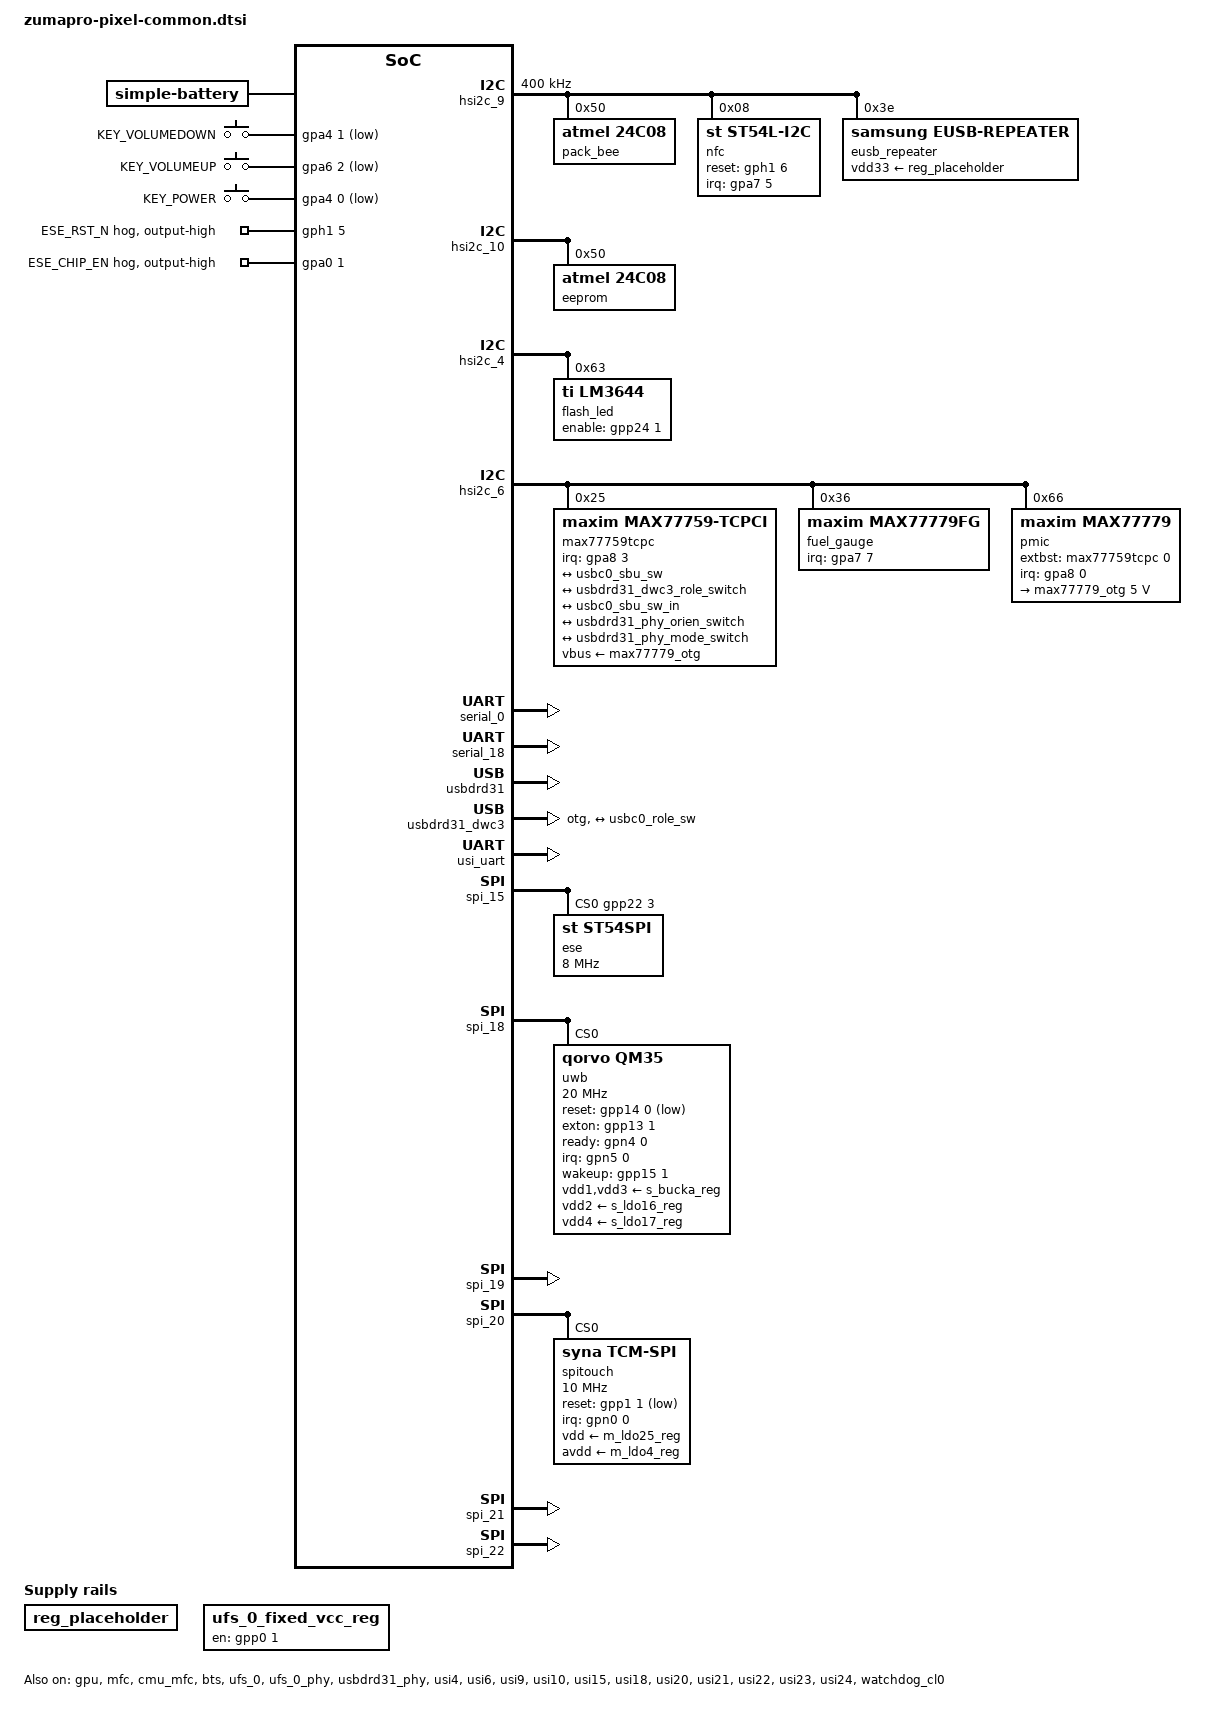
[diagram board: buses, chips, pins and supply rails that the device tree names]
// SPDX-License-Identifier: GPL-2.0-only
/*
 * Device Tree nodes common for all zumapro-based Pixel phones
 *
 * Copyright 2021-2023 Google LLC
 * Copyright 2023 Linaro Ltd - <peter.griffin@linaro.org>
 */

/dts-v1/;

#include <dt-bindings/gpio/gpio.h>
#include <dt-bindings/input/input.h>
#include <dt-bindings/regulator/samsung,s2mpg10-regulator.h>
#include <dt-bindings/usb/pd.h>
#include <dt-bindings/leds/common.h>
#include "zumapro-pinctrl.h"
#include "zumapro.dtsi"

/ {
	aliases {
		serial0 = &serial_0;
	};

	/*
	 * Cell fitted to caiman: ATL, battery id 17. The three google,chg-*
	 * arrays are the vendor charge table under their original names, so a
	 * different cell's block can be copied across unchanged: temperature
	 * band boundaries in deci-degrees, constant-voltage tiers, and for each
	 * (band, tier) the charge current as a percentage of the pack capacity,
	 * where 0 means do not charge that tier at that temperature. Below
	 * 10 degrees that stops charging at 4.3 V, which is the protection the
	 * charger's fixed fallback limit cannot express.
	 */
	battery: battery {
		compatible = "simple-battery";

		charge-full-design-microamp-hours = <4558000>;
		constant-charge-voltage-max-microvolt = <4480000>;
		constant-charge-current-max-microamp = <5469600>;

		google,chg-cv-limits = <4200000 4300000 4350000 4480000>;
		google,chg-temp-limits = <0 100 200 420 460 480 550>;
		google,chg-cc-limits = <
			 50   30    0    0
			 70   30   30   30
			120  120  120   50
			100  100  100   50
			 50   50    0    0
			 30    0    0    0
		>;
	};

	chosen {
		/* Bootloader expects bootargs specified otherwise it crashes */
		bootargs = "earlycon=exynos4210,0x10870000 splash plymouth.ignore-serial-consoles plymouth.prefer-fbcon clk_ignore_unused pmos_boot_uuid=054e6c2a-294c-4542-be46-56ac95c6d2d9 pmos_root_uuid=738b808b-8486-42b8-9520-0cd5fa0e4ac7 pmos_rootfsopts=defaults";
		stdout-path = &serial_0;

		/* Use display framebuffer as setup by bootloader */
		framebuffer0: framebuffer-0 {
			compatible = "simple-framebuffer";
			memory-region = <&cont_splash_mem>;
			/* format properties to be added by actual board */

			status = "disabled";
		};
	};

	memory_1: memory@880000000 {
		device_type = "memory";
		reg = <0x08 0x80000000 0x80000000>;
	};

	memory_2: memory@900000000 {
		device_type = "memory";
		reg = <0x09 0x00 0x80000000>;
	};

	memory_3: memory@980000000 {
		device_type = "memory";
		reg = <0x09 0x80000000 0x80000000>;
	};

	decon_autorefresh_bit: mmio-init@19470030 {
		compatible = "linux,mmio-init-helper";
		reg = <0 0x19470030 0x4>;
		value = <0x3061>;

		status = "disabled";
	};

	gpio_keys: gpio-keys {
		compatible = "gpio-keys";
		pinctrl-0 = <&key_voldown>, <&key_volup>, <&key_power>;
		pinctrl-names = "default";

		button-vol-down {
			label = "KEY_VOLUMEDOWN";
			linux,code = <KEY_VOLUMEDOWN>;
			gpios = <&gpa4 1 GPIO_ACTIVE_LOW>;
			wakeup-source;
		};

		button-vol-up {
			label = "KEY_VOLUMEUP";
			linux,code = <KEY_VOLUMEUP>;
			gpios = <&gpa6 2 GPIO_ACTIVE_LOW>;
			wakeup-source;
		};

		button-power {
			label = "KEY_POWER";
			linux,code = <KEY_POWER>;
			gpios = <&gpa4 0 GPIO_ACTIVE_LOW>;
			wakeup-source;
		};
	};

	reboot-mode {
		compatible = "nvmem-reboot-mode";
		nvmem-cells = <&nvmem_reboot_mode>;
		nvmem-cell-names = "reboot-mode";
		mode-bootloader = <0x800000fc>;
		mode-charge = <0x8000000a>;
		mode-dm-verity-device-corrupted = <0x80000050>;
		mode-fastboot = <0x800000fa>;
		mode-reboot-ab-update = <0x80000052>;
		mode-recovery = <0x800000ff>;
		mode-rescue = <0x800000f9>;
		mode-shutdown-thermal = <0x80000051>;
		mode-shutdown-thermal-battery = <0x80000051>;
	};

	/* TODO: Remove this once PMIC is implemented  */
	reg_placeholder: regulator-0 {
		compatible = "regulator-fixed";
		regulator-name = "placeholder_reg";
	};

	/* TODO: Remove this once S2MPG11 slave PMIC is implemented  */
	ufs_0_fixed_vcc_reg: regulator-1 {
		compatible = "regulator-fixed";
		regulator-name = "ufs-vcc";
		gpio = <&gpp0 1 GPIO_ACTIVE_HIGH>;
		regulator-boot-on;
		/*
		 * Nothing claims this -- ufs-exynos never asks for a vcc
		 * supply -- so the disable-unused sweep will pull GPP0_1 low
		 * and cut power to the rootfs.  boot-on does not stop it;
		 * only always-on does.
		 */
		regulator-always-on;
		enable-active-high;
	};

	reserved-memory {
		cont_splash_mem: splash@fac00000 {
			/* size to be updated by actual board */
			reg = <0x0 0xfac00000 0x0>;
			no-map;

			status = "disabled";
		};
	};
};

&acpm_ipc {
	pmic-1 {
		compatible = "samsung,s2mpg14-pmic";
		/*
		 * The in-band interrupt, demultiplexed out of the shared I3C
		 * line by the VGPIO2AP controller; slave index 0 is the main
		 * PMIC.  The GIC line itself (SPI 74) belongs to that
		 * controller, not here.
		 */
		interrupt-parent = <&vgpio2ap>;
		interrupts = <0 IRQ_TYPE_LEVEL_HIGH>;
		gpios = <&gpa9 4 GPIO_ACTIVE_LOW>,		/* SMPL_WARN_R_L */
			<&gpa10 0 GPIO_ACTIVE_HIGH>,		/* OCP_WARN_CPUCL1_R */
			<&gpa10 1 GPIO_ACTIVE_HIGH>,		/* OCP_WARN_CPUCL2_R */
			<&gpa10 2 GPIO_ACTIVE_HIGH>,		/* SOFT_OCP_WARN_CPUCL1_R */
			<&gpa10 3 GPIO_ACTIVE_HIGH>,		/* SOFT_OCP_WARN_CPUCL2_R */
			<&gpa9 2 GPIO_ACTIVE_HIGH>,		/* OCP_WARN_TPU_R */
			<&gpa9 3 GPIO_ACTIVE_HIGH>;		/* SOFT_OCP_WARN_TPU_R */
		pinctrl-names = "default";
		pinctrl-0 = <&smpl_warn>;
		system-power-controller;
		wakeup-source;

		clocks {
			compatible = "samsung,s2mpg10-clk";
			#clock-cells = <1>;
			clock-output-names = "rtc32k_ap", "peri32k1",
					     "peri32k2";
		};

		regulators {
			m_buck7_reg: buck7m {
				/* TPU rail on zumapro */
				regulator-name = "vdd_tpu";
				regulator-min-microvolt = <450000>;
				regulator-max-microvolt = <1300000>;
				regulator-ramp-delay = <6250>;
			};

			m_ldo5_reg: ldo5m {
				/* 1.8V always-on rail from main PMIC */
				regulator-name = "vdd_1p8_main";
				regulator-min-microvolt = <1600000>;
				regulator-max-microvolt = <1950000>;
				regulator-always-on;
			};

			m_ldo4_reg: ldo4m {
				/* L4M_TS_AVDD: touchscreen analog 3.3V */
				regulator-name = "vdd_ts_avdd";
				regulator-min-microvolt = <3300000>;
				regulator-max-microvolt = <3300000>;
			};

			m_ldo25_reg: ldo25m {
				/* L25M_TSP_DVDD: touchscreen digital 1.8V */
				regulator-name = "vdd_ts_dvdd";
				regulator-min-microvolt = <1800000>;
				regulator-max-microvolt = <1800000>;
			};
		};

		/*
		 * The main PMIC's meter block has no thermistor engine -- that
		 * is the sub PMIC -- but describing it keeps the two symmetric
		 * and gives the power meter a node of its own.
		 */
		s2mpg14_meter: meter {
			compatible = "samsung,s2mpg14-meter";
		};

		s2mpg14_gpio: gpio {
			compatible = "samsung,s2mpg14-gpio";
			gpio-controller;
			#gpio-cells = <2>;
			ngpios = <6>;
		};
	};

	pmic-2 {
		compatible = "samsung,s2mpg15-pmic";
		/*
		 * As for the main PMIC, the in-band interrupt demultiplexed out
		 * of the shared I3C line; slave index 1 is the sub PMIC.
		 */
		interrupt-parent = <&vgpio2ap>;
		interrupts = <1 IRQ_TYPE_LEVEL_HIGH>;
		gpios = <&gpp17 0 GPIO_ACTIVE_HIGH>,
			<&gpp17 1 GPIO_ACTIVE_HIGH>;
		pinctrl-names = "default";
		wakeup-source;

		regulators {
			s_buck1_reg: buck1s {
				/*
				 * Named for the camera, but the display needs
				 * it: letting the disable-unused sweep take it
				 * SErrors the next DECON register write in
				 * zuma_decon_enable_window().  No DPU node
				 * declares a supply, so nothing holds it up on
				 * its own.
				 */
				regulator-name = "vdd_cam";
				regulator-min-microvolt = <450000>;
				regulator-max-microvolt = <1300000>;
				regulator-ramp-delay = <6250>;
				regulator-always-on;
			};

			s_buck12_reg: buck12s {
				/* Aurora DSP. No consumer in mainline. */
				regulator-name = "vdd_aur";
				regulator-min-microvolt = <450000>;
				regulator-max-microvolt = <1300000>;
				regulator-ramp-delay = <6250>;
			};

			s_buck2_reg: buck2s {
				/* GPU */
				regulator-name = "vdd_g3d";
				regulator-min-microvolt = <450000>;
				regulator-max-microvolt = <1300000>;
				regulator-ramp-delay = <6250>;
				regulator-always-on;
			};

			s_buck8_reg: buck8s {
				/* GPU */
				regulator-name = "vdd_g3d_l2";
				regulator-min-microvolt = <450000>;
				regulator-max-microvolt = <1300000>;
				regulator-ramp-delay = <6250>;
				regulator-always-on;
			};

			s_ldo1_reg: ldo1s {
				/* GPU */
				regulator-name = "vdd_g3d_m";
				regulator-min-microvolt = <700000>;
				regulator-max-microvolt = <1300000>;
				regulator-always-on;
			};

			s_ldo2_reg: ldo2s {
				/* UFS/MIPI PLL rail on zumapro */
				regulator-name = "vdd_ufs_pll";
				regulator-min-microvolt = <700000>;
				regulator-max-microvolt = <1087500>;
				regulator-always-on;
			};

			s_buck11_reg: buck11s {
				/* VDD_INT_M on zumapro */
				regulator-name = "vdd_int_m";
				regulator-min-microvolt = <450000>;
				regulator-max-microvolt = <1300000>;
				regulator-ramp-delay = <6250>;
				regulator-always-on;
			};

			s_bucka_reg: bucka {
				/* the speaker amplifiers' analog supply */
				regulator-name = "vdd_bucka";
				regulator-min-microvolt = <1700000>;
				regulator-max-microvolt = <2100000>;
				regulator-always-on;
			};

			/*
			 * GNSS rails.  The receiver has no enable GPIO -- these
			 * are its only power control, and it is held up whenever
			 * the sub-PMIC is.  Left unconstrained on purpose: the
			 * levels come from PMIC OTP and nothing should retune
			 * them, so these only pin the rails on.
			 */
			s_ldo9_reg: ldo9s {
				regulator-name = "vdd_gnss_core";
				regulator-always-on;
			};

			s_ldo10_reg: ldo10s {
				regulator-name = "vdd_gnss_rf";
				regulator-always-on;
			};

			s_ldo11_reg: ldo11s {
				regulator-name = "vdd_gnss_aux";
				regulator-always-on;
			};

			/*
			 * The rails the AoC's physical sensors sit on.  No
			 * voltage constraints: the bootloader leaves both
			 * selectors where the AoC expects them and the driver
			 * describes these enable-only, so a constraint here
			 * would fail registration rather than set a voltage.
			 */
			s_ldo5_reg: ldo5s {
				regulator-name = "L5S_PROX";
				regulator-always-on;
			};

			s_ldo7_reg: ldo7s {
				regulator-name = "L7S_SENSORS";
				regulator-always-on;
			};

			/* Camera VDDIO (L12S_CAMIO, 1.85 V).  Enable-only, as above. */
			s_ldo12_reg: ldo12s {
				regulator-name = "L12S_CAMIO";
			};

			/* UWB rails, switched by the QM35 driver.  Enable-only, as above. */
			s_ldo16_reg: ldo16s {
				regulator-name = "L16S_UWB";
			};

			s_ldo17_reg: ldo17s {
				regulator-name = "L17S_UWB";
			};
		};

		/*
		 * The sub PMIC's meter block drives the board's eight NTC
		 * thermistors as well as the power meter. Only the channels a
		 * thermal zone names are sampled.
		 */
		s2mpg15_meter: meter {
			compatible = "samsung,s2mpg15-meter";
			#thermal-sensor-cells = <1>;
		};

		s2mpg15_gpio: gpio {
			compatible = "samsung,s2mpg15-gpio";
			gpio-controller;
			#gpio-cells = <2>;
			ngpios = <10>;
		};
	};
};

&ext_24_5m {
	clock-frequency = <24576000>;
};

&ext_200m {
	clock-frequency = <200000000>;
};

&ext_26m {
	clock-frequency = <26000000>;
};

&ext_1m {
	clock-frequency = <1000000>;
};

&hsi2c_9 {
	/* Vendor runs this bus at 950 kHz; fast mode is plenty for NCI. */
	clock-frequency = <400000>;

	pack_bee: m24c08@50 {
		compatible = "atmel,24c08";
		reg = <0x50>;
	};

	/*
	 * STMicroelectronics ST21NFC controller. Every zumapro phone -- caiman,
	 * komodo, tokay, comet and tegu -- carries the same part on this same
	 * bus with identical wiring, so it lives in the common file rather than
	 * per board. The bus (usi9/hsi2c_9) is already enabled below for the
	 * eUSB2 repeater; NFC is simply another client at 0x08.
	 *
	 * The in-kernel st-nci driver speaks NCI over ST's NDLC framing, so no
	 * vendor firmware path is required. IRQ_N (active-high, level-triggered
	 * read-request) and RESET_N are routed to the always-on (ALIVE) GPIO
	 * banks gpa7/gph1 so the controller can wake the AP out of suspend;
	 * wakeup-source makes the I2C core arm IRQ_N as the wake IRQ.
	 */
	nfc: nfc@8 {
		compatible = "st,st54l-i2c";
		reg = <0x08>;

		interrupt-parent = <&gpa7>;
		interrupts = <5 IRQ_TYPE_LEVEL_HIGH>;
		wakeup-source;

		reset-gpios = <&gph1 6 GPIO_ACTIVE_HIGH>;

		/*
		 * RF reference clock: PMU clock-output pad CLKOUT1.  The
		 * driver enables it while the controller is active; without
		 * it RF discovery fails though digital NCI still works.
		 */
		clocks = <&pmu_system_controller 1>;
	};
};

&hsi2c_10 {
	status = "okay";

	eeprom: eeprom@50 {
		compatible = "atmel,24c08";
		reg = <0x50>;
	};
};

&hsi2c_4 {
	status = "okay";

	flash_led: led-controller@63 {
		compatible = "ti,lm3644";
		reg = <0x63>;
		enable-gpios = <&gpp24 1 GPIO_ACTIVE_HIGH>;

		led {
			function = LED_FUNCTION_FLASH;
			color = <LED_COLOR_ID_WHITE>;
			led-sources = <0>, <1>;
			led-max-microamp = <90000>;
			flash-max-microamp = <750000>;
			flash-max-timeout-us = <100000>;
		};
	};
};

&hsi2c_6 {
	status = "okay";
	/* TODO: add the devices once drivers exist */

	max77759tcpc: usb-typec@25 {
		compatible = "maxim,max77759-tcpci", "maxim,max33359";
		reg = <0x25>;
		interrupts-extended = <&gpa8 3 IRQ_TYPE_LEVEL_LOW>;
		pinctrl-0 = <&typec_int>;
		pinctrl-names = "default";

		/* EXT_BST_EN, consumed by the max77779 OTG regulator below */
		gpio-controller;
		#gpio-cells = <2>;

		/*
		 * The SBU switch that routes DP AUX to the connector lives in
		 * this TCPC, so the connector links its mode switch back here.
		 */
		mode-switch;

		/* VBUS sourcing (host mode) via the max77779 external boost */
		vbus-supply = <&max77779_otg>;

		port {
			usbc0_sbu_sw_in: endpoint {
				remote-endpoint = <&usbc0_sbu_sw>;
			};
		};

		connector {
			compatible = "usb-c-connector";
			label = "USB-C";
			data-role = "dual";
			power-role = "dual";
			self-powered;
			try-power-role = "sink";
			op-sink-microwatt = <2600000>;
			slow-charger-loop;
			/*
			 * max77759 operating in reverse boost mode (0xA) can
			 * source up to 1.5A while extboost can only do ~1A.
			 * Since extboost is the primary path, advertise 900mA.
			 */
			source-pdos = <PDO_FIXED(5000, 900,
						 (PDO_FIXED_SUSPEND
						  | PDO_FIXED_USB_COMM
						  | PDO_FIXED_DATA_SWAP
						  | PDO_FIXED_DUAL_ROLE))>;
			sink-pdos = <PDO_FIXED(5000, 3000,
					       (PDO_FIXED_DATA_SWAP
						| PDO_FIXED_USB_COMM
						| PDO_FIXED_HIGHER_CAP
						| PDO_FIXED_DUAL_ROLE))
				     PDO_FIXED(9000, 2200, 0)
				     PDO_PPS_APDO(5000, 11000, 3000)>;
			sink-vdos = <VDO_IDH(1, 1, IDH_PTYPE_PERIPH, 0,
					     IDH_PTYPE_DFP_HOST, 2, 0x18d1)
				     VDO_CERT(0x0)
				     VDO_PRODUCT(0x4ee1, 0x0)
				     VDO_UFP(UFP_VDO_VER1_2,
					     (DEV_USB2_CAPABLE
					      | DEV_USB3_CAPABLE),
					     UFP_RECEPTACLE, 0,
					     AMA_VCONN_NOT_REQ, 0,
					     UFP_ALTMODE_NOT_SUPP,
					     UFP_USB32_GEN1)
				     /* padding */ 0
				     VDO_DFP(DFP_VDO_VER1_1,
					     (HOST_USB2_CAPABLE
					      | HOST_USB3_CAPABLE),
					     DFP_RECEPTACLE, 0)>;
			sink-vdos-v1 = <VDO_IDH(1, 1, IDH_PTYPE_PERIPH, 0,
						0, 0, 0x18d1)
					VDO_CERT(0x0)
					VDO_PRODUCT(0x4ee1, 0x0)>;
			typec-power-opmode = "default";

			/*
			 * Where the DP alt mode driver sends hotplug: it
			 * resolves this reference and raises an out-of-band
			 * event on the DRM connector whose fwnode matches,
			 * which drm_bridge_connector turns into an HPD notify.
			 * Undocumented in usb-connector.yaml, but it is what
			 * dp_altmode_probe() looks for.
			 */
			displayport = <&dp>;

			/*
			 * dp_altmode_probe() intersects this against the
			 * partner's pin assignments and refuses the mode if
			 * nothing overlaps, so the port has to name its own:
			 * DFP_D, HBR3, receptacle, assignments C (four DP
			 * lanes) and D (two, USB3 alongside) -- the two the
			 * combo PHY's TCA mux can route.
			 */
			altmodes {
				displayport {
					svid = /bits/ 16 <0xff01>;
					vdo = <0x00000c46>;
				};
			};

			ports {
				#address-cells = <1>;
				#size-cells = <0>;

				/*
				 * High speed: the DWC3 data role, and the
				 * TCPC's own switches.
				 */
				port@0 {
					reg = <0>;
					#address-cells = <1>;
					#size-cells = <0>;

					usbc0_role_sw: endpoint@0 {
						reg = <0>;
						remote-endpoint = <&usbdrd31_dwc3_role_switch>;
					};

					usbc0_sbu_sw: endpoint@1 {
						reg = <1>;
						remote-endpoint = <&usbc0_sbu_sw_in>;
					};
				};

				/* Super speed: the USB31DRD combo PHY, which */
				/* takes the connector orientation.           */
				port@1 {
					reg = <1>;

					usbc0_orien_sw: endpoint {
						remote-endpoint = <&usbdrd31_phy_orien_switch>;
					};
				};

				/*
				 * SBU: no AUX switch is described here yet, so
				 * this port carries only the alternate mode
				 * lane routing, which the combo PHY's TCA does.
				 */
				port@2 {
					reg = <2>;

					usbc0_mode_sw: endpoint {
						remote-endpoint = <&usbdrd31_phy_mode_switch>;
					};
				};
			};
		};
	};

	fuel_gauge: fuel-gauge@36 {
		compatible = "maxim,max77779fg";
		reg = <0x36>;

		pinctrl-0 = <&if_pmic_fg_int>;
		pinctrl-names = "default";
		interrupts-extended = <&gpa7 7 IRQ_TYPE_LEVEL_LOW>;

		shunt-resistor-micro-ohms = <2000>;

		/*
		 * ATL cell, battery id 17 (the gauge's resistance_id), taken from
		 * the vendor tokay battery data -- caiman shares it. Verified
		 * word-for-word against a gauge the stock stack had loaded.
		 */
		maxim,fg-model = /bits/ 16 <
			0x9810 0xad30 0xb770 0xb8a0 0xba30 0xbde0 0xbf00 0xc030
			0xc1b0 0xc4d0 0xc7f0 0xcc70 0xcf80 0xd390 0xd6c0 0xdf10
			0x0060 0x0150 0x1640 0x0b40 0x0a50 0x2930 0x1290 0x0f80
			0x07d0 0x07b0 0x07f0 0x05b0 0x06e0 0x0790 0x05b0 0x05b0
		>;

		/* (register, value); the gauge's own Config/dPAcc/Config2 among them */
		maxim,fg-params = /bits/ 16 <
			0x00c0 0xc1b0 0x00b6 0x083b 0x009f 0x660e 0x000c 0x4207
			0x00ab 0x0081 0x00bc 0x5f00 0x00a9 0x0780 0x00b3 0x0780
			0x0046 0x0c80 0x00a5 0x0780 0x00c6 0xa55a 0x00a0 0x3584
			0x00a1 0x1e06 0x00a2 0x0804 0x00a3 0x0685 0x00a6 0x0600
			0x00a7 0x2103 0x009c 0x0247 0x00b2 0x3870 0x009e 0x0400
			0x00ca 0xc8ff 0x009d 0xcea4
		>;
	};

	pmic@66 {
		compatible = "maxim,max77779";
		reg = <0x66>;

		pinctrl-0 = <&if_pmic_int>;
		pinctrl-names = "default";
		interrupts-extended = <&gpa8 0 IRQ_TYPE_LEVEL_LOW>;

		interrupt-controller;
		#interrupt-cells = <2>;

		/* OTG VBUS sourced via the TCPC's external-boost enable */
		extbst-gpios = <&max77759tcpc 0 GPIO_ACTIVE_HIGH>;

		charger {
			compatible = "maxim,max77779-charger";

			monitored-battery = <&battery>;
			fuel-gauge = <&fuel_gauge>;
		};

		max77779_otg: otg-regulator {
			regulator-name = "vbus";
			regulator-min-microvolt = <5000000>;
			regulator-max-microvolt = <5000000>;
			/*
			 * Enabling is one write to the boost's enable; it then
			 * soft-starts on its own and nothing reports when the
			 * rail is live, so hold consumers off for as long as
			 * that takes. The vendor driver open-codes the same
			 * wait as two 5ms sleeps around the assert.
			 */
			regulator-enable-ramp-delay = <10000>;
		};

		gpio {
			compatible = "maxim,max77779-gpio";

			gpio-controller;
			#gpio-cells = <2>;
			/*
			 * "Human-readable name [SIGNAL_LABEL]" where the
			 * latter comes from the schematic
			 */
			gpio-line-names = "OTG boost [OTG_BOOST_EN]",
					  "max20339 IRQ [MW_OVP_INT_L]";

			interrupt-controller;
			#interrupt-cells = <2>;
		};

		nvmem-0 {
			compatible = "maxim,max77779-nvmem";

			nvmem-layout {
				compatible = "fixed-layout";
				#address-cells = <1>;
				#size-cells = <1>;

				nvmem_reboot_mode: reboot-mode@0 {
					reg = <0x0 0x4>;
				};

				boot-reason@4 {
					reg = <0x4 0x4>;
				};

				shutdown-user-flag@8 {
					reg = <0x8 0x1>;
				};

				rsoc@a {
					reg = <0xa 0x2>;
				};
			};
		};
	};
};

&pinctrl_gpio_alive {
	pmic_int: pmic-int-pins {
		samsung,pins = "gpa8-0";
		samsung,pin-function = <GS101_PIN_FUNC_EINT>;
		samsung,pin-pud = <GS101_PIN_PULL_NONE>;
	};

	// sub_pmic_int: sub-pmic-int-pins {
	// 	samsung,pins = "gpa0-7";
	// 	samsung,pin-function = <GS101_PIN_FUNC_EINT>;
	// 	samsung,pin-pud = <GS101_PIN_PULL_NONE>;
	// };

	if_pmic_fg_int: if-pmic-fg-int-pins {
		samsung,pins = "gpa7-7";
		samsung,pin-function = <GS101_PIN_FUNC_EINT>;
		samsung,pin-pud = <GS101_PIN_PULL_UP>;
		samsung,pin-drv = <GS101_PIN_DRV_2_5_MA>;
	};

	smpl_warn: pmic-int-pins {
		samsung,pins = "gpa9-4";
		samsung,pin-function = <GS101_PIN_FUNC_EINT>;
		samsung,pin-pud = <GS101_PIN_PULL_NONE>;
	};

	key_power: key-power-pins {
		samsung,pins = "gpa4-0";
		samsung,pin-function = <GS101_PIN_FUNC_EINT>;
		samsung,pin-pud = <GS101_PIN_PULL_UP>;
		samsung,pin-drv = <GS101_PIN_DRV_2_5_MA>;
	};

	key_volup: key-volup-pins {
		samsung,pins = "gpa6-2";
		samsung,pin-function = <GS101_PIN_FUNC_EINT>;
		samsung,pin-pud = <GS101_PIN_PULL_NONE>;
		samsung,pin-drv = <GS101_PIN_DRV_2_5_MA>;
	};

	key_voldown: key-voldown-pins {
		samsung,pins = "gpa4-1";
		samsung,pin-function = <GS101_PIN_FUNC_EINT>;
		samsung,pin-pud = <GS101_PIN_PULL_NONE>;
		samsung,pin-drv = <GS101_PIN_DRV_2_5_MA>;
	};

	typec_int: typec-int-pins {
		samsung,pins = "gpa8-3";
		samsung,pin-function = <GS101_PIN_FUNC_EINT>;
		samsung,pin-pud = <GS101_PIN_PULL_UP>;
		samsung,pin-drv = <GS101_PIN_DRV_2_5_MA>;
	};

	if_pmic_int: if-pmic-int-pins {
		samsung,pins = "gpa8-0";
		samsung,pin-function = <GS101_PIN_FUNC_EINT>;
		samsung,pin-pud = <GS101_PIN_PULL_UP>;
		samsung,pin-drv = <GS101_PIN_DRV_2_5_MA>;
	};
};

&pinctrl_gpio_custom_alive {
	ts_irq: ts-irq {
		samsung,pins = "gpn0-0";
		samsung,pin-function = <GS101_PIN_FUNC_EINT>;
		samsung,pin-pud = <GS101_PIN_PULL_NONE>;
		samsung,pin-drv = <GS101_PIN_DRV_2_5_MA>;
	};
};

&serial_0 {
	status = "okay";
};

&serial_18 {
	/*
	 * Bluetooth HCI UART.  Only RXD/TXD are wired (gpa3-2/3 are the CP-PMIC
	 * SPMI lines), but serdev unconditionally sets CRTSCTS on open, which
	 * would arm this controller's hardware auto-flow control and gate TX on
	 * an nCTS nothing drives.  Suppress AFC for this port.
	 */
	samsung,no-auto-flow-control;
	status = "okay";
};

&gpu {
	status = "okay";

	sram-supply = <&s_ldo1_reg>;
};

/*
 * Hardware video encode and decode, with its own CMU and that CMU's SYSREG.
 * The power domain and the SysMMU need no enabling - they carry no status and
 * are live already.
 */
&mfc {
	status = "okay";
};

&cmu_mfc {
	status = "okay";
};

&sysreg_mfc {
	status = "okay";
};

/*
 * The NoC QoS ports the codec votes memory bandwidth through.  Not codec
 * specific - any master that needs a bandwidth floor goes through here.
 */
&bts {
	status = "okay";
};

&ufs_0 {
	vcc-supply = <&ufs_0_fixed_vcc_reg>;
	vdd-hba-supply = <&s_ldo2_reg>;
	vccq-supply = <&s_ldo2_reg>;
	vccq2-supply = <&m_ldo5_reg>;
	vcc-max-microamp = <0>;
	vccq-max-microamp = <0>;
	vccq2-max-microamp = <0>;
	
	status = "okay";
};

&ufs_0_phy {
	status = "okay";
};

&usbdrd31 {
	vdd10-supply = <&reg_placeholder>;
	vdd33-supply = <&reg_placeholder>;

	status = "okay";
};

&usbdrd31_dwc3 {
	dr_mode = "otg";
	usb-role-switch;
	role-switch-default-mode = "peripheral";
	maximum-speed = "super-speed-plus";

	status = "okay";

	port {
		usbdrd31_dwc3_role_switch: endpoint {
			remote-endpoint = <&usbc0_role_sw>;
		};
	};
};

&usbdrd31_phy {
	orientation-switch;
	mode-switch;
	/* TODO: Update these once PMIC is implemented */
	pll-supply = <&reg_placeholder>;
	dvdd-usb20-supply = <&reg_placeholder>;
	vddh-usb20-supply = <&reg_placeholder>;
	vdd33-usb20-supply = <&reg_placeholder>;
	vdda-usbdp-supply = <&reg_placeholder>;
	vddh-usbdp-supply = <&reg_placeholder>;

	status = "okay";

	port {
		#address-cells = <1>;
		#size-cells = <0>;

		usbdrd31_phy_orien_switch: endpoint@0 {
			reg = <0>;
			remote-endpoint = <&usbc0_orien_sw>;
		};

		usbdrd31_phy_mode_switch: endpoint@1 {
			reg = <1>;
			remote-endpoint = <&usbc0_mode_sw>;
		};
	};
};

&usi_uart {
	samsung,clkreq-on; /* needed for UART mode */

	status = "okay";
};

&usi4 {
	samsung,mode = <USI_MODE_I2C>;
	status = "okay";
};

&usi6 {
	samsung,mode = <USI_MODE_I2C>;
	status = "okay";
};

/*
 * eUSB2 repeater bus. usi9 wraps hsi2c_9; the USI mux must be enabled and put
 * in I2C mode or the controller (and the repeater @0x3e) never probes, leaving
 * the eUSB2 PHY with no path to the connector. The eUSB2 PHY (usb_hsphy)
 * consumes this repeater via phys = <&eusb_repeater>.
 */
&usi9 {
	samsung,mode = <USI_MODE_I2C>;
	status = "okay";
};

&hsi2c_9 {
	status = "okay";

	eusb_repeater: eusb-repeater@3e {
		compatible = "samsung,eusb-repeater";
		reg = <0x3e>;
		#phy-cells = <0>;
		vdd33-supply = <&reg_placeholder>;
		/* board signal tuning, as <register value> pairs */
		samsung,tune-param = <0x50 0x0a>,
				     <0x70 0x7c>,
				     <0x71 0x3c>,
				     <0x72 0x92>,
				     <0x73 0x83>,
				     <0x77 0x00>,
				     <0x78 0x0b>,
				     <0x79 0x60>;
		status = "okay";
	};
};

// &usi8 {
// 	samsung,mode = <USI_MODE_I2C>;
// 	status = "okay";
// };

&usi10 {
	samsung,mode = <USI_MODE_I2C>;

	status = "okay";
};

&usi15 {
	samsung,mode = <USI_MODE_SPI>;

	status = "okay";
};

&usi17 {
	status = "disabled";
};

&usi18 {
	samsung,clkreq-on; /* needed for UART mode */

	status = "okay";
};

&usi20 {
	samsung,mode = <USI_MODE_SPI>;

	status = "okay";
};

&usi21 {
	samsung,mode = <USI_MODE_SPI>;

	status = "okay";
};

&usi22 {
	samsung,mode = <USI_MODE_SPI>;

	status = "okay";
};

&usi23 {
	samsung,mode = <USI_MODE_SPI>;

	status = "okay";
};

&usi24 {
	samsung,mode = <USI_MODE_SPI>;

	status = "okay";
};

/*
 * The ST54L's embedded secure element (it hosts the eSIM) hangs off its own
 * SPI port on usi15.  There is no in-kernel protocol for it: the secure
 * element HAL exchanges raw APDUs over spidev.  Its RESET_N (gph1-5) and
 * chip-enable (gpa0-1) lines have no runtime use from Linux and are held in
 * the running state by the hogs below.
 */
&spi_15 {
	status = "okay";
	pinctrl-0 = <&spi15_bus &spi15_cs>;
	cs-gpios = <&gpp22 3 GPIO_ACTIVE_HIGH>;

	ese: secure-element@0 {
		compatible = "st,st54spi";
		reg = <0>;
		spi-max-frequency = <8000000>;
		spi-cs-setup-delay-ns = <18000>;
	};
};

&gph1 {
	ese-reset-hog {
		gpio-hog;
		gpios = <5 GPIO_ACTIVE_HIGH>;
		output-high;
		line-name = "ESE_RST_N";
	};
};

&gpa0 {
	ese-enable-hog {
		gpio-hog;
		gpios = <1 GPIO_ACTIVE_HIGH>;
		output-high;
		line-name = "ESE_CHIP_EN";
	};
};

/*
 * Qorvo QM35 UWB transceiver on HSI0's USI0, whose pins are dedicated (no
 * mux, hence no pinctrl).  SS_IRQ and SS_READY sit on the ALIVE banks so the
 * chip can wake the AP.
 */
&spi_18 {
	status = "okay";

	uwb: uwb@0 {
		compatible = "qorvo,qm35";
		reg = <0>;
		spi-max-frequency = <20000000>;
		spi-cs-setup-delay-ns = <10000>;

		vdd1-supply = <&s_bucka_reg>;
		vdd2-supply = <&s_ldo16_reg>;
		vdd3-supply = <&s_bucka_reg>;
		vdd4-supply = <&s_ldo17_reg>;

		reset-gpios = <&gpp14 0 GPIO_ACTIVE_LOW>;
		exton-gpios = <&gpp13 1 GPIO_ACTIVE_HIGH>;
		ready-gpios = <&gpn4 0 (GPIO_ACTIVE_HIGH | GPIO_PULL_DOWN)>;
		irq-gpios = <&gpn5 0 (GPIO_ACTIVE_HIGH | GPIO_PULL_DOWN)>;
		wakeup-gpios = <&gpp15 1 GPIO_ACTIVE_HIGH>;
	};
};

&spi_19 {
	status = "okay";
};

&spi_20 {
	status = "okay";

	/*
	 * Bus on gpp4-0/1/2 with native chip-select on gpp4-3 (spi2_cs_func,
	 * FUNC_3). No cs-gpios: TouchComm needs the native manual chip-select
	 * held across the header -> continuation reads, and s3c64xx only takes
	 * that path when the CS is not a GPIO descriptor.
	 */
	pinctrl-names = "default";
	pinctrl-0 = <&spi2_bus &spi2_cs_func>;
	num-cs = <1>;

	spitouch: touchscreen@0 {
		compatible = "syna,tcm-spi";
		status = "okay";
		spi-max-frequency = <10000000>;
		reg = <0>;
		pinctrl-names = "default";
		pinctrl-0 = <&ts_irq>;
		/* TSP_INT on gpn0-0 (direct-to-GIC EINT), active low */
		interrupts-extended = <&gpn0 0 IRQ_TYPE_LEVEL_LOW>;
		/* TSP_RESET on gpp1-1 (peric0), asserted low */
		reset-gpios = <&gpp1 1 GPIO_ACTIVE_LOW>;
		/* vdd = L25M_TSP_DVDD (1.8V), avdd = L4M_TS_AVDD (3.3V) */
		vdd-supply = <&m_ldo25_reg>;
		avdd-supply = <&m_ldo4_reg>;

		/*
		 * Opt in to the Touch Bus Negotiator: with the display off the
		 * driver puts the IC into low-power gesture mode and hands the
		 * SPI bus to the AoC, so a tap can wake the AP without the AP
		 * being awake to see it.  Without this the driver takes the
		 * plain deep-sleep path and keeps the bus.
		 */
		goog,tbn-enabled;

		/* Native manual CS (mode 0) with a 2us setup delay, per vendor */
		controller-data {
			samsung,spi-feedback-delay = <0>;
			samsung,spi-chip-select-mode = <0>;
			cs-clock-delay = <2>;
		};
	};
};

&spi_21 {
	status = "okay";
};

&spi_22 {
	status = "okay";
};

&watchdog_cl0 {
	timeout-sec = <30>;
	status = "okay";
};

/*
 * The skin zone, on the thermistor next to the case rather than a sensor
 * inside the SoC. This is the one the vendor stack regulates on, and the
 * reason it can run the silicon hotter than a die-temperature policy dares
 * to: a die reading cannot tell a brief spike on a cold phone from sustained
 * load on a hot one, so it has to assume the worst and throttle early.
 *
 * The die zones in zumapro.dtsi stay as they are. They protect the silicon,
 * locally and quickly; this protects the user, globally and slowly. Where
 * both name the same cooling device the thermal core takes the higher
 * requested state, so the stricter of the two wins.
 *
 * Unlike those zones, this one budgets all four cooling devices together,
 * which is what a skin measurement actually constrains -- total board power,
 * however it is being spent.
 */
&{/thermal-zones} {
	skin-thermal {
		/* Skin temperature moves in seconds, not milliseconds. */
		polling-delay = <1000>;
		polling-delay-passive = <250>;
		thermal-sensors = <&s2mpg15_meter 1>;	/* quiet_therm */

		/*
		 * Both numbers below are the tuning knobs, and neither came
		 * from the vendor: its kernel delegates this zone to userspace
		 * ("user_space" governor, polling disabled) and the real
		 * control points live in the Android thermal HAL's config, not
		 * in its device tree. What its DT does say is where it gives
		 * up -- 56 C notify, 60 C shutdown, 65 C hardware shutdown --
		 * so the safe operating range sits well below those.
		 *
		 * The switch-on has to sit above the temperature the phone
		 * actually idles at, or the reset never fires and the integral
		 * can stay latched -- see the trips below. This board idles at
		 * 41-42 C skin with a compositor running, measured, so 43 C is
		 * the floor for it, and the control point has to be far enough
		 * above that for the derived gains to stay sane: a 45 C target
		 * would leave a 2 C band and a near-relay k_po of 1280.
		 *
		 * 50 C is therefore a consequence of this board idling warm,
		 * not a judgement that 50 C is a pleasant thing to hold. It
		 * sits under the vendor's own 56 C notify point. The honest fix
		 * is the idle temperature itself -- a phone with nothing to do
		 * should be nearer 33 C than 42 C -- and that is a separate
		 * problem: the panel runs at 120 Hz regardless, the GPU keeps
		 * its clocks up, and there is no cluster or system idle state.
		 * Lower this once those land.
		 */
		sustainable-power = <2500>;

		trips {
			/*
			 * The lower of two passive trips is IPA's switch-on
			 * point, and it is not optional. Below it the governor
			 * calls reset_pid_controller() and allow_maximum_power()
			 * and gets out of the way; with a single passive trip
			 * get_governor_trips() leaves trip_switch_on NULL, that
			 * branch never runs, and the governor controls at every
			 * temperature.
			 *
			 * That is how this zone first shipped, and the failure
			 * is worse than permanent mild control: integral_cutoff
			 * defaults to 0, so the integral term accumulates only
			 * while err < 0 -- above the control temperature. Once a
			 * warm spell winds it negative nothing unwinds it, the
			 * power budget stays clamped to zero, and every actor
			 * sits at its maximum cooling state for good. Measured:
			 * cpu0 pinned to 820 MHz, cpu4 to 357, cpu7 to 700 and
			 * the GPU to its floor, at 42 C against a 45 C
			 * set point, until the zone was disabled.
			 *
			 * The die zones in zumapro.dtsi have the same shape and
			 * the same latent problem; they get away with it only by
			 * sitting ~20 C below their set point, where the
			 * proportional term swamps the integral.
			 *
			 * No cooling map here: IPA allocates across the
			 * instances bound to the control trip below.
			 */
			skin_switch_on: switch-on {
				temperature = <43000>;
				hysteresis = <2000>;
				type = "passive";
			};

			skin_alert: throttle {
				temperature = <50000>;
				hysteresis = <2000>;
				type = "passive";
			};

			/* Mirrors the vendor's backup-shutdown-sw. */
			skin_crit: critical {
				temperature = <60000>;
				hysteresis = <2000>;
				type = "critical";
			};
		};

		cooling-maps {
			map0 {
				trip = <&skin_alert>;
				cooling-device = <&cpu0 THERMAL_NO_LIMIT
						  THERMAL_NO_LIMIT>;
			};

			map1 {
				trip = <&skin_alert>;
				cooling-device = <&cpu4 THERMAL_NO_LIMIT
						  THERMAL_NO_LIMIT>;
			};

			map2 {
				trip = <&skin_alert>;
				cooling-device = <&cpu7 THERMAL_NO_LIMIT
						  THERMAL_NO_LIMIT>;
			};

			map3 {
				trip = <&skin_alert>;
				cooling-device = <&gpu THERMAL_NO_LIMIT
						  THERMAL_NO_LIMIT>;
			};
		};
	};
};
